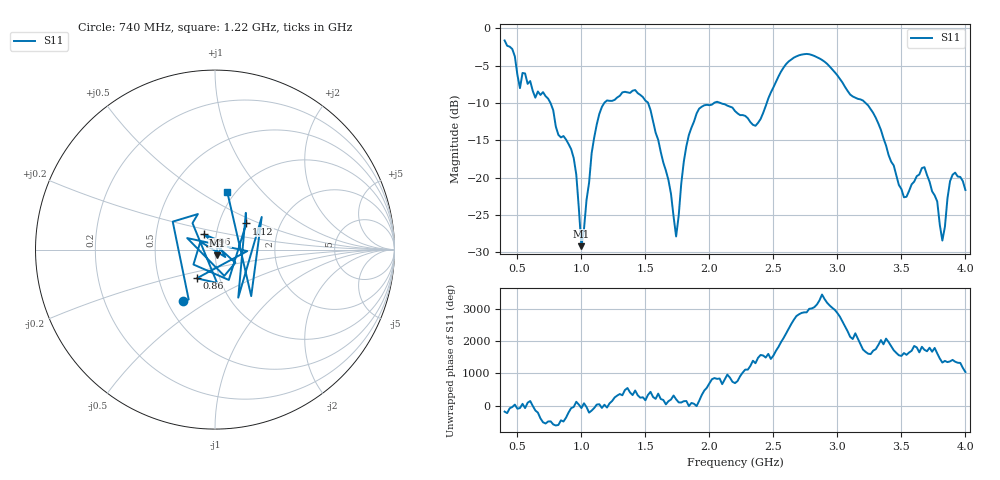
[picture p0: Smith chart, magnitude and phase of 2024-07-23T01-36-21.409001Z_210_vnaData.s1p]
!Created with skrf (http://scikit-rf.org).
# Hz S RI R 50.0
!freq ReS11 ImS11
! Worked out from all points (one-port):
!   181 points, 400 MHz to 4 GHz, reference 50 ohm
!   lowest |S11| = -29.2 dB at 1 GHz (marker M1), VSWR 1.07, Z = 51.2 - j3.32 ohm
!   |S11| at or under -10 dB: 758.1 MHz to 1.179 GHz (420.7 MHz wide, 43.4 % of centre); 1.521 GHz to 2.037 GHz (515.8 MHz wide, 29 % of centre); 3.22 GHz to end of sweep (the widest 3 of 4)
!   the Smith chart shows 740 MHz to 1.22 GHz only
!   S11 on the Smith chart (normalised r, x): 740 MHz: 0.60, -0.39; 860 MHz: 0.78, -0.26; 960 MHz: 0.87, +0.15; 1.12 GHz: 1.35, +0.41; 1.22 GHz: 0.92, +0.66
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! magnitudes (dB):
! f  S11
! 400 MHz  -1.6
! 520 MHz  -8.0
! 560 MHz  -6.1
! 740 MHz  -9.4
! 860 MHz  -14.4
! 960 MHz  -19.6
! 1 GHz  -29.2
! 1.12 GHz  -12.9
! 1.22 GHz  -9.7
! 1.3 GHz  -9.0
! 1.52 GHz  -10.0
! 1.68 GHz  -20.3
! 1.74 GHz  -27.9
! 1.76 GHz  -25.1
! 1.82 GHz  -15.8
! 1.92 GHz  -10.8
! 2.2 GHz  -11.1
! 2.36 GHz  -13.1
! 2.66 GHz  -3.9
! 3.1 GHz  -8.9
! 3.28 GHz  -11.3
! 3.52 GHz  -22.6
! 3.56 GHz  -21.8
! 3.68 GHz  -18.6
! 3.78 GHz  -23.2
! 3.82 GHz  -28.4
! 3.9 GHz  -19.6
! 4 GHz  -21.6
